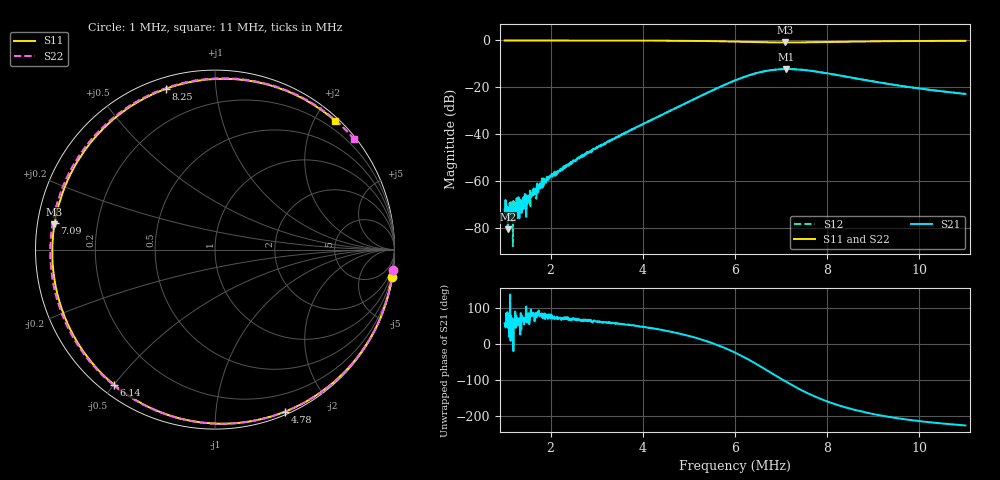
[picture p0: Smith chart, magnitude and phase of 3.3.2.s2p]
# MHz S DB R 50
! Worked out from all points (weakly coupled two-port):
!   1001 points, 1 MHz to 11 MHz, reference 50 ohm
!   highest |S21| = -12.19 dB at 7.11 MHz (marker M1); lowest = -80.5 dB at 1.07 MHz (marker M2)
!   lowest |S11| = -0.9 dB at 7.08 MHz (marker M3), VSWR 20.11, Z = 2.5 + j3.88 ohm
!   |S11| at or under -10 dB: nowhere
!   |S22| runs from -0.8 to 0.0 dB; largest |S21 - S12| = 0.0014
!   S11 on the Smith chart (normalised r, x): 1 MHz: 0, -13; 4.78 MHz: 0.03, -1.52; 6.14 MHz: 0.04, -0.50; 7.09 MHz: 0.05, +0.08; 8.25 MHz: 0.05, +0.74; 11 MHz: 0.06, +2.29
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1  -0.01 -8.9  -72.13 57.1  -74.98 92.4  -0.01 -6.7
1.07  -0.01 -9.5  -80.47 44.6  -73.53 83.6  -0.01 -7.1
1.1  -0.01 -9.8  -71.22 19.3  -69.59 83.7  -0.01 -7.3
1.23  -0.02 -11.0  -71.71 89.4  -70.43 22.7  -0.01 -8.2
1.26  -0.01 -11.3  -67.22 71.5  -68.12 75.2  -0.01 -8.4
1.37  -0.02 -12.3  -73.34 78.7  -68.28 69.2  -0.01 -9.2
1.66  -0.02 -15.1  -65.05 72.6  -62.49 79.4  -0.02 -11.2
1.96  -0.02 -18.2  -58.17 82.1  -58.00 76.1  -0.02 -13.5
2.67  -0.03 -26.4  -48.99 66.3  -49.35 66.1  -0.02 -19.8
4.34  -0.10 -54.9  -32.36 40.5  -32.39 39.9  -0.05 -42.7
4.78  -0.14 -66.7  -28.17 29.0  -28.16 28.5  -0.08 -53.0
5.41  -0.26 -89.2  -22.19 6.4  -22.20 6.3  -0.18 -74.3
6  -0.47 -118.5  -17.04 -24.1  -17.02 -24.2  -0.37 -105.9
6.14  -0.54 -126.7  -15.97 -32.8  -15.97 -33.1  -0.43 -115.6
6.66  -0.78 -160.5  -13.05 -70.6  -13.04 -70.8  -0.68 -158.8
7.08  -0.86 171.1  -12.20 -102.8  -12.20 -103.0  -0.76 163.3
7.09  -0.86 170.4  -12.20 -103.6  -12.18 -103.8  -0.75 162.4
7.11  -0.86 169.1  -12.19 -105.0  -12.19 -105.3  -0.75 160.7
7.67  -0.76 134.9  -12.99 -142.1  -12.98 -142.3  -0.60 118.8
8.25  -0.57 107.1  -14.85 -170.2  -14.84 -170.4  -0.41 89.5
9.34  -0.32 73.4  -18.55 157.8  -18.54 157.7  -0.20 59.2
11  -0.17 47.1  -22.76 134.1  -22.77 133.9  -0.10 38.4
